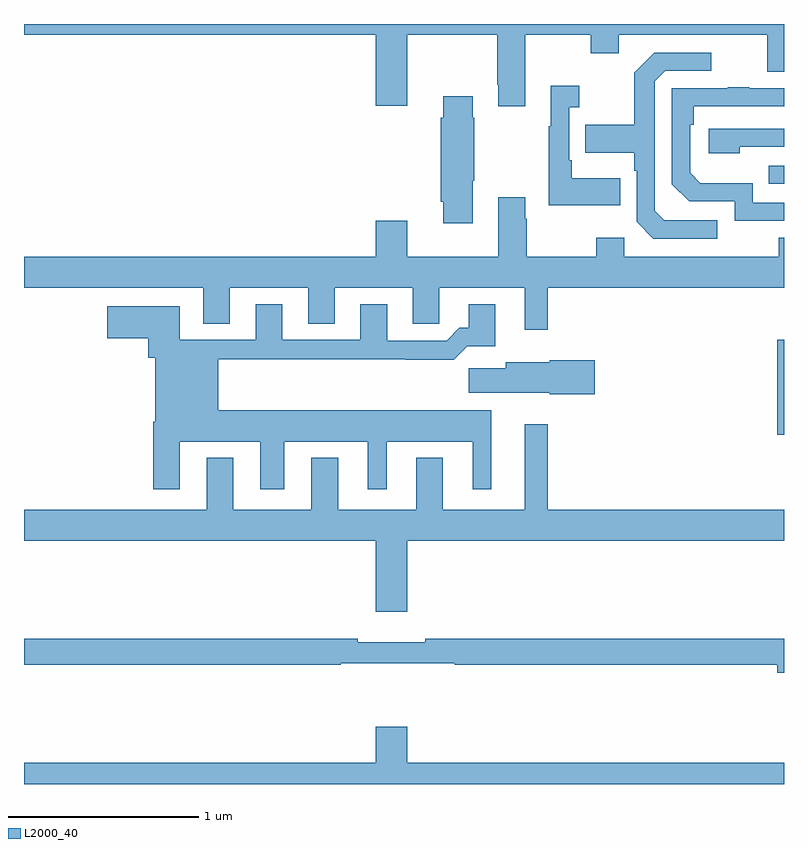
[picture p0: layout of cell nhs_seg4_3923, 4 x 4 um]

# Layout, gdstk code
import gdstk
lib = gdstk.Library(unit=1e-6, precision=1e-09)
def R(c, l, rs):  # rectangles x0, y0, x1, y1
    for r in rs: c.add(gdstk.rectangle(r[:2], r[2:], *l))
def P(c, l, *ps):  # polygons
    for p in ps: c.add(gdstk.Polygon(p, *l))
L2000_40 = (2000, 40)

nhs_seg4_3923 = lib.new_cell('nhs_seg4_3923')
R(nhs_seg4_3923, L2000_40, [(322.964,770.738,323,771.237), (322.921,772.059,323,772.155)])
P(nhs_seg4_3923, L2000_40, [(321.637,772.844),(321.982,772.844),(321.982,772.745),(322.129,772.745),(322.129,772.844),(322.913,772.844),(322.913,772.65),(323,772.65),(323,772.9),(319,772.9),(319,772.844),(320.852,772.844),(320.852,772.47),(321.016,772.47),(321.016,772.844),(321.49,772.844),(321.49,772.579),(321.497,772.579),(321.497,772.467),(321.637,772.467)],
  [(322.648,771.867),(322.371,771.867),(322.32,771.918),(322.32,772.599),(322.374,772.653),(322.618,772.653),(322.618,772.749),(322.317,772.749),(322.212,772.643),(322.212,772.371),(321.955,772.371),(321.955,772.223),(322.212,772.223),(322.212,772.127),(322.224,772.127),(322.224,771.858),(322.311,771.771),(322.648,771.771)],
  [(322.139,772.087),(321.883,772.087),(321.883,772.183),(321.87,772.183),(321.87,772.463),(321.922,772.463),(321.922,772.576),(321.773,772.576),(321.773,772.363),(321.762,772.363),(321.762,771.947),(322.139,771.947)],
  [(323,771.96),(322.836,771.96),(322.836,772.063),(322.559,772.063),(322.506,772.116),(322.506,772.37),(322.526,772.37),(322.526,772.467),(323,772.467),(323,772.563),(322.817,772.563),(322.817,772.568),(322.705,772.568),(322.705,772.563),(322.41,772.563),(322.41,772.056),(322.5,771.966),(322.74,771.966),(322.74,771.864),(323,771.864)],
  [(321.361,772.075),(321.369,772.075),(321.369,772.406),(321.361,772.406),(321.361,772.519),(321.206,772.519),(321.206,772.406),(321.194,772.406),(321.194,771.964),(321.206,771.964),(321.206,771.852),(321.361,771.852)],
  [(322.766,772.254),(323,772.254),(323,772.35),(322.605,772.35),(322.605,772.22),(322.766,772.22)],
  [(321.757,771.512),(323,771.512),(323,771.775),(322.972,771.775),(322.972,771.676),(322.158,771.676),(322.158,771.775),(322.012,771.775),(322.012,771.676),(321.645,771.676),(321.645,771.875),(321.637,771.875),(321.637,771.988),(321.497,771.988),(321.497,771.676),(321.016,771.676),(321.016,771.865),(320.852,771.865),(320.852,771.676),(319,771.676),(319,771.512),(319.943,771.512),(319.943,771.322),(320.083,771.322),(320.083,771.512),(320.495,771.512),(320.495,771.322),(320.635,771.322),(320.635,771.512),(321.047,771.512),(321.047,771.322),(321.186,771.322),(321.186,771.512),(321.635,771.512),(321.635,771.291),(321.757,771.291)],
  [(319.819,770.702),(320.243,770.702),(320.243,770.451),(320.371,770.451),(320.371,770.702),(320.81,770.702),(320.81,770.451),(320.908,770.451),(320.908,770.702),(321.362,770.702),(321.362,770.451),(321.46,770.451),(321.46,770.866),(320.023,770.866),(320.023,771.136),(321.007,771.136),(321.007,771.134),(321.263,771.134),(321.332,771.203),(321.481,771.203),(321.481,771.424),(321.341,771.424),(321.341,771.301),(321.292,771.301),(321.225,771.234),(320.911,771.234),(320.911,771.424),(320.771,771.424),(320.771,771.237),(320.359,771.237),(320.359,771.424),(320.219,771.424),(320.219,771.237),(319.819,771.237),(319.819,771.415),(319.437,771.415),(319.437,771.245),(319.655,771.245),(319.655,771.144),(319.691,771.144),(319.691,770.806),(319.679,770.806),(319.679,770.451),(319.819,770.451)],
  [(322.003,771.129),(321.768,771.129),(321.768,771.121),(321.536,771.121),(321.536,771.089),(321.342,771.089),(321.342,770.96),(321.768,770.96),(321.768,770.951),(322.003,770.951)],
  [(321.016,770.18),(323,770.18),(323,770.344),(321.757,770.344),(321.757,770.794),(321.635,770.794),(321.635,770.344),(321.205,770.344),(321.205,770.617),(321.065,770.617),(321.065,770.344),(320.653,770.344),(320.653,770.617),(320.513,770.617),(320.513,770.344),(320.101,770.344),(320.101,770.617),(319.961,770.617),(319.961,770.344),(319,770.344),(319,770.18),(320.852,770.18),(320.852,769.806),(321.016,769.806)],
  [(323,769.664),(321.112,769.664),(321.112,769.645),(320.756,769.645),(320.756,769.664),(319,769.664),(319,769.528),(320.668,769.528),(320.668,769.536),(321.268,769.536),(321.268,769.528),(322.964,769.528),(322.964,769.486),(323,769.486)],
  [(323,769.012),(321.016,769.012),(321.016,769.201),(320.852,769.201),(320.852,769.012),(319,769.012),(319,768.9),(323,768.9)])

lib.write_gds('nhs_seg4_3923.gds')
